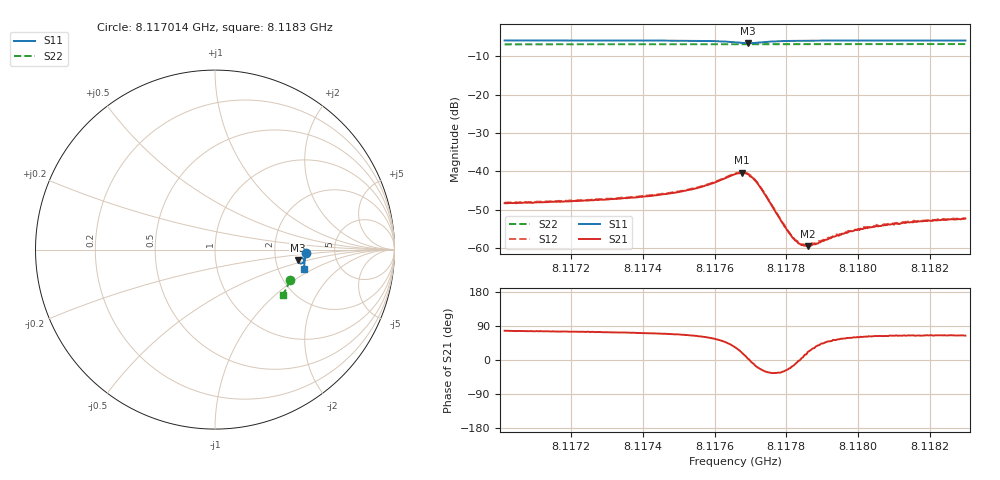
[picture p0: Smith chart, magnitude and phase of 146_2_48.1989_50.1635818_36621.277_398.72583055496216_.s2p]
#  HZ  S  RI  R  50.00
! Rohde & Schwarz Vector Network Analyzer
! Rohde-Schwarz,ZNB20-2Port,1311601062101988,3.16
! Created: UTC 3/20/2024, 11:42:37 AM
! freq[Hz]  re:S11  im:S11  re:S21  im:S21  re:S12  im:S12  re:S22  im:S22
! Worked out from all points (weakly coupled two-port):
!   401 points, 8.117014 GHz to 8.1183 GHz, reference 50 ohm
!   highest |S21| = -40.32 dB at 8.117676 GHz (marker M1); lowest = -59.4 dB at 8.117859 GHz (marker M2)
!   lowest |S11| = -6.6 dB at 8.117692 GHz (marker M3), VSWR 2.75, Z = 134 - j20.5 ohm
!   |S11| at or under -10 dB: nowhere
!   |S22| runs from -6.9 to -6.8 dB; largest |S21 - S12| = 0.00035
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8.1170144e9  0.5057 -0.0181  0.000848 0.00377  0.000945 0.00382  0.4173 -0.1705
8.1172297e9  0.5044 -0.0355  0.00112 0.004  0.00122 0.00407  0.4119 -0.1845
8.1173325e9  0.5033 -0.0442  0.00132 0.00422  0.00139 0.00432  0.4091 -0.1913
8.117445e9  0.5011 -0.0547  0.00173 0.00466  0.00179 0.00473  0.4059 -0.1985
8.1175028e9  0.4992 -0.0609  0.00211 0.005  0.0022 0.0051  0.4042 -0.2022
8.1175607e9  0.4954 -0.0682  0.00292 0.00555  0.00306 0.0056  0.4024 -0.206
8.1175992e9  0.4904 -0.0736  0.00396 0.00591  0.00415 0.00597  0.401 -0.2086
8.117657e9  0.4727 -0.0767  0.00767 0.00512  0.00788 0.00512  0.3987 -0.2118
8.1176763e9  0.4647 -0.0701  0.00912 0.00313  0.00925 0.00311  0.3978 -0.2127
8.1176924e9  0.4622 -0.0602  0.00922 0.000644  0.00936 0.000655  0.3973 -0.2131
8.1177117e9  0.4678 -0.0492  0.00752 -0.00168  0.00772 -0.00183  0.3971 -0.2138
8.1177245e9  0.4743 -0.0457  0.00602 -0.00244  0.00611 -0.00255  0.3971 -0.2146
8.1177952e9  0.4946 -0.0548  0.00168 -0.000929  0.00174 -0.000988  0.3958 -0.2194
8.1178177e9  0.4965 -0.0587  0.00132 -0.000385  0.00139 -0.00045  0.3952 -0.2209
8.117837e9  0.4973 -0.0618  0.00115 -3.04e-05  0.00118 -2.14e-05  0.3946 -0.2223
8.1178595e9  0.498 -0.0651  0.000997 0.000379  0.00103 0.000351  0.394 -0.2236
8.1178723e9  0.4983 -0.0667  0.000969 0.000549  0.00102 0.00057  0.3933 -0.2245
8.1179784e9  0.4983 -0.0784  0.000874 0.00142  0.000881 0.00142  0.39 -0.2312
8.1180169e9  0.4978 -0.0821  0.00088 0.00162  0.00092 0.00166  0.3887 -0.2337
8.1180876e9  0.4971 -0.0882  0.000878 0.00183  0.000923 0.00187  0.3863 -0.238
8.1181904e9  0.4955 -0.0968  0.000958 0.00207  0.001 0.00209  0.3828 -0.2444
8.1182997e9  0.4937 -0.1054  0.00106 0.0022  0.00108 0.00221  0.3787 -0.251
